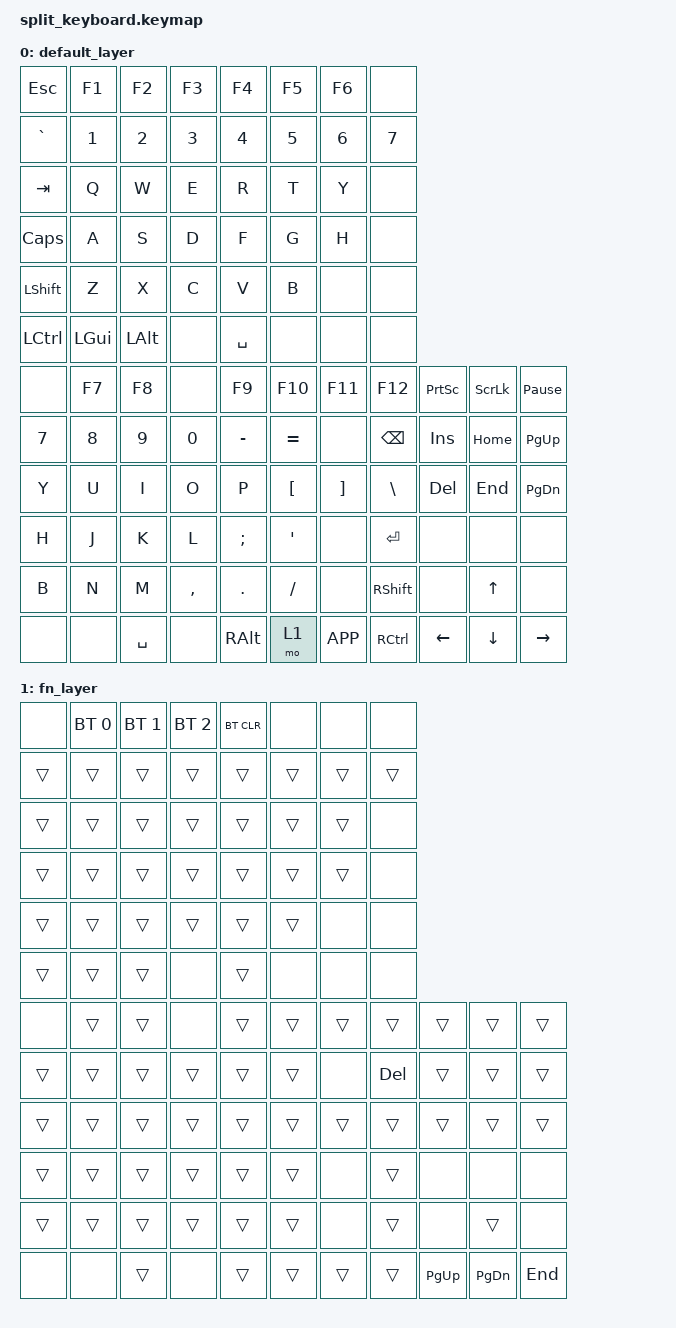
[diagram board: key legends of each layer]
#include <behaviors.dtsi>
#include <dt-bindings/zmk/keys.h>
#include <dt-bindings/zmk/bt.h>

/ {
    keymap {
        compatible = "zmk,keymap";

        /*
         * ZMK 스플릿 키맵 구조:
         * 왼쪽(Central)    6행 × 8열  = 48키 → 위치 0  ~ 47
         * 오른쪽(Peripheral) 6행 × 11열 = 66키 → 위치 48 ~ 113
         * 반드시 왼쪽 전체를 먼저 나열한 뒤 오른쪽을 나열해야 합니다.
         */
        default_layer {
            bindings = <
/* ===== 왼쪽 (Central) 6행 × 8열 ===== */
/* Row 0 */ &kp ESC   &kp F1   &kp F2   &kp F3   &kp F4    &kp F5   &kp F6   &none
/* Row 1 */ &kp GRAVE &kp N1   &kp N2   &kp N3   &kp N4    &kp N5   &kp N6   &kp N7
/* Row 2 */ &kp TAB   &kp Q    &kp W    &kp E    &kp R     &kp T    &kp Y    &none
/* Row 3 */ &kp CLCK  &kp A    &kp S    &kp D    &kp F     &kp G    &kp H    &none
/* Row 4 */ &kp LSHFT &kp Z    &kp X    &kp C    &kp V     &kp B    &none    &none
/* Row 5 */ &kp LCTRL &kp LGUI &kp LALT &none    &kp SPACE &none    &none    &none
/* ===== 오른쪽 (Peripheral) 6행 × 11열 ===== */
/* Row 0 */ &none     &kp F7  &kp F8  &none    &kp F9    &kp F10   &kp F11  &kp F12  &kp PSCRN &kp SLCK  &kp PAUSE_BREAK
/* Row 1 */ &kp N7    &kp N8  &kp N9  &kp N0   &kp MINUS &kp EQUAL &none    &kp BSPC &kp INS   &kp HOME  &kp PG_UP
/* Row 2 */ &kp Y     &kp U   &kp I   &kp O    &kp P     &kp LBKT  &kp RBKT &kp BSLH &kp DEL   &kp END   &kp PG_DN
/* Row 3 */ &kp H     &kp J   &kp K   &kp L    &kp SEMI  &kp SQT   &none    &kp ENTER &none    &none     &none
/* Row 4 */ &kp B     &kp N   &kp M   &kp COMMA &kp DOT  &kp FSLH  &none    &kp RSHFT &none    &kp UP    &none
/* Row 5 */ &none     &none   &kp SPACE &none   &kp RALT &mo 1     &kp K_APP &kp RCTRL &kp LEFT &kp DOWN  &kp RIGHT
            >;
        };

        fn_layer {
            bindings = <
/* ===== 왼쪽 (Central) 6행 × 8열 ===== */
/* Row 0 */ &none  &bt BT_SEL 0 &bt BT_SEL 1 &bt BT_SEL 2 &bt BT_CLR &none  &none  &none
/* Row 1 */ &trans &trans       &trans       &trans       &trans     &trans &trans &trans
/* Row 2 */ &trans &trans       &trans       &trans       &trans     &trans &trans &none
/* Row 3 */ &trans &trans       &trans       &trans       &trans     &trans &trans &none
/* Row 4 */ &trans &trans       &trans       &trans       &trans     &trans &none  &none
/* Row 5 */ &trans &trans       &trans       &none        &trans     &none  &none  &none
/* ===== 오른쪽 (Peripheral) 6행 × 11열 ===== */
/* Row 0 */ &none  &trans &trans &none  &trans &trans &trans  &trans    &trans    &trans    &trans
/* Row 1 */ &trans &trans &trans &trans &trans &trans &none   &kp DEL   &trans    &trans    &trans
/* Row 2 */ &trans &trans &trans &trans &trans &trans &trans  &trans    &trans    &trans    &trans
/* Row 3 */ &trans &trans &trans &trans &trans &trans &none   &trans    &none     &none     &none
/* Row 4 */ &trans &trans &trans &trans &trans &trans &none   &trans    &none     &trans    &none
/* Row 5 */ &none  &none  &trans &none  &trans &trans &trans  &trans    &kp PG_UP &kp PG_DN &kp END
            >;
        };
    };
};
